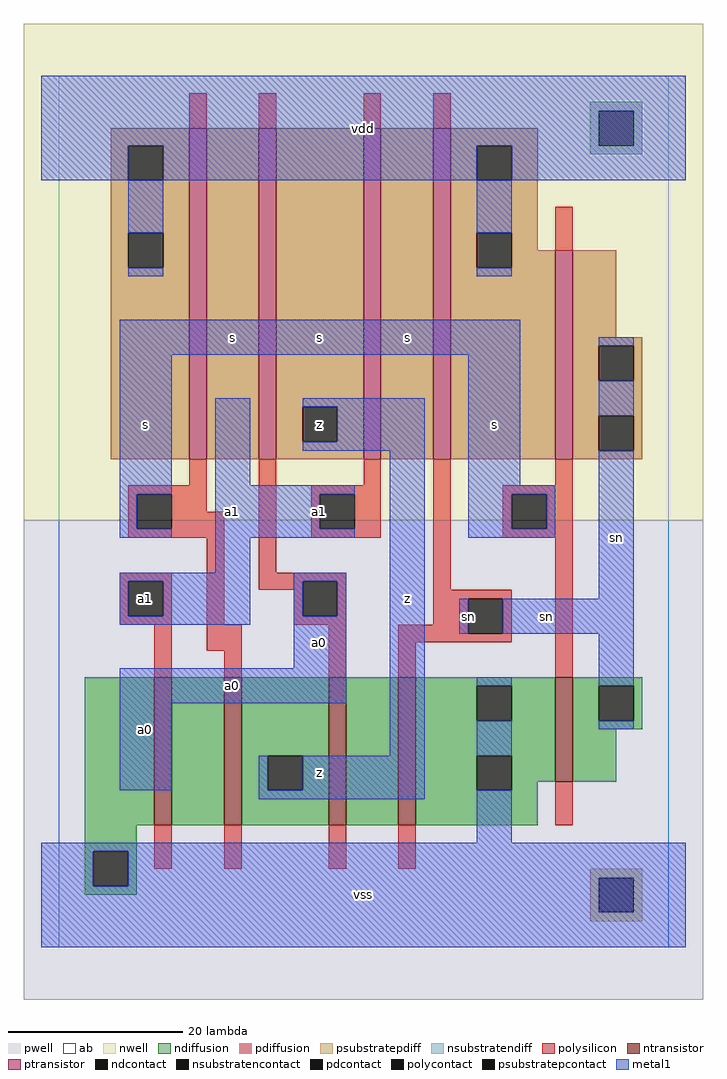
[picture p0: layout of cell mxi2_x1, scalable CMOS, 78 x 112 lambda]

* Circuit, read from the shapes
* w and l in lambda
.subckt mxi2_x1 a0 a1 s sn vdd vss z
M1 n1 a1 vss vss nfet w=17 l=2
M2 z s n1 vss nfet w=17 l=2
M3 n2 a0 z vss nfet w=17 l=2
M4 vss sn n2 vss nfet w=17 l=2
M5 sn s vss vss nfet w=12 l=2
M6 n3 s vdd vdd pfet w=38 l=2
M7 z a0 n3 vdd pfet w=38 l=2
M8 n4 a1 z vdd pfet w=38 l=2
M9 vdd sn n4 vdd pfet w=38 l=2
M10 sn s vdd vdd pfet w=24 l=2
.ends

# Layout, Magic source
magic
tech scmos
<< ab >>
rect 0 0 70 100
<< pwell >>
rect -4 -6 74 49
<< nwell >>
rect -4 49 74 106
<< polysilicon >>
rect 15 94 17 98
rect 23 94 25 98
rect 35 94 37 98
rect 43 94 45 98
rect 57 80 59 85
rect 15 53 17 56
rect 8 52 17 53
rect 8 48 9 52
rect 13 50 17 52
rect 13 48 19 50
rect 8 47 19 48
rect 7 42 13 43
rect 7 38 8 42
rect 12 38 13 42
rect 7 37 13 38
rect 11 31 13 37
rect 17 37 19 47
rect 23 43 25 56
rect 35 53 37 56
rect 29 52 37 53
rect 29 48 30 52
rect 34 48 37 52
rect 29 47 37 48
rect 23 42 33 43
rect 23 41 28 42
rect 27 38 28 41
rect 32 38 33 42
rect 27 37 33 38
rect 43 41 45 56
rect 57 53 59 56
rect 51 52 59 53
rect 51 48 52 52
rect 56 48 59 52
rect 51 47 59 48
rect 43 40 52 41
rect 43 37 47 40
rect 17 34 21 37
rect 19 31 21 34
rect 31 31 33 37
rect 39 36 47 37
rect 51 36 52 40
rect 39 35 52 36
rect 39 31 41 35
rect 57 31 59 47
rect 57 14 59 19
rect 11 9 13 14
rect 19 9 21 14
rect 31 9 33 14
rect 39 9 41 14
<< ndiffusion >>
rect 3 14 11 31
rect 13 14 19 31
rect 21 22 31 31
rect 21 18 24 22
rect 28 18 31 22
rect 21 14 31 18
rect 33 14 39 31
rect 41 30 57 31
rect 41 26 48 30
rect 52 26 57 30
rect 41 22 57 26
rect 41 18 48 22
rect 52 19 57 22
rect 59 30 67 31
rect 59 26 62 30
rect 66 26 67 30
rect 59 25 67 26
rect 59 19 64 25
rect 52 18 55 19
rect 41 14 55 18
rect 3 11 9 14
rect 3 7 4 11
rect 8 7 9 11
rect 3 6 9 7
<< pdiffusion >>
rect 6 92 15 94
rect 6 88 8 92
rect 12 88 15 92
rect 6 82 15 88
rect 6 78 8 82
rect 12 78 15 82
rect 6 56 15 78
rect 17 56 23 94
rect 25 62 35 94
rect 25 58 28 62
rect 32 58 35 62
rect 25 56 35 58
rect 37 56 43 94
rect 45 92 55 94
rect 45 88 48 92
rect 52 88 55 92
rect 45 82 55 88
rect 45 78 48 82
rect 52 80 55 82
rect 52 78 57 80
rect 45 56 57 78
rect 59 70 64 80
rect 59 69 67 70
rect 59 65 62 69
rect 66 65 67 69
rect 59 61 67 65
rect 59 57 62 61
rect 66 57 67 61
rect 59 56 67 57
<< metal1 >>
rect -2 92 72 100
rect -2 88 8 92
rect 12 88 48 92
rect 52 88 72 92
rect 8 82 12 88
rect 8 77 12 78
rect 48 82 52 88
rect 48 77 52 78
rect 7 68 53 72
rect 7 52 13 68
rect 7 48 9 52
rect 7 47 13 48
rect 18 53 22 63
rect 28 62 42 63
rect 32 58 42 62
rect 28 57 42 58
rect 18 52 34 53
rect 18 48 30 52
rect 18 47 34 48
rect 18 43 22 47
rect 7 42 22 43
rect 7 38 8 42
rect 12 38 22 42
rect 7 37 22 38
rect 27 42 33 43
rect 27 38 28 42
rect 32 38 33 42
rect 27 32 33 38
rect 7 28 33 32
rect 7 18 13 28
rect 38 22 42 57
rect 47 53 53 68
rect 62 69 66 70
rect 62 61 66 65
rect 47 52 57 53
rect 47 48 52 52
rect 56 48 57 52
rect 47 47 57 48
rect 62 40 66 57
rect 46 36 47 40
rect 51 36 66 40
rect 23 18 24 22
rect 28 18 42 22
rect 23 17 42 18
rect 48 30 52 31
rect 48 22 52 26
rect 62 30 66 36
rect 62 25 66 26
rect 48 12 52 18
rect -2 11 72 12
rect -2 7 4 11
rect 8 7 72 11
rect -2 0 72 7
<< ntransistor >>
rect 11 14 13 31
rect 19 14 21 31
rect 31 14 33 31
rect 39 14 41 31
rect 57 19 59 31
<< ptransistor >>
rect 15 56 17 94
rect 23 56 25 94
rect 35 56 37 94
rect 43 56 45 94
rect 57 56 59 80
<< polycontact >>
rect 9 48 13 52
rect 8 38 12 42
rect 30 48 34 52
rect 28 38 32 42
rect 52 48 56 52
rect 47 36 51 40
<< ndcontact >>
rect 24 18 28 22
rect 48 26 52 30
rect 48 18 52 22
rect 62 26 66 30
rect 4 7 8 11
<< pdcontact >>
rect 8 88 12 92
rect 8 78 12 82
rect 28 58 32 62
rect 48 88 52 92
rect 48 78 52 82
rect 62 65 66 69
rect 62 57 66 61
<< psubstratepcontact >>
rect 62 4 66 8
<< nsubstratencontact >>
rect 62 92 66 96
<< psubstratepdiff >>
rect 61 8 67 9
rect 61 4 62 8
rect 66 4 67 8
rect 61 3 67 4
<< nsubstratendiff >>
rect 61 96 67 97
rect 61 92 62 96
rect 66 92 67 96
rect 61 91 67 92
<< labels >>
rlabel polysilicon 47 38 47 38 6 sn
rlabel metal1 10 25 10 25 6 a0
rlabel metal1 10 25 10 25 6 a0
rlabel metal1 20 30 20 30 6 a0
rlabel metal1 20 30 20 30 6 a0
rlabel polycontact 10 40 10 40 6 a1
rlabel polycontact 10 40 10 40 6 a1
rlabel metal1 20 50 20 50 6 a1
rlabel metal1 20 50 20 50 6 a1
rlabel metal1 10 60 10 60 6 s
rlabel metal1 10 60 10 60 6 s
rlabel metal1 20 70 20 70 6 s
rlabel metal1 20 70 20 70 6 s
rlabel metal1 35 6 35 6 6 vss
rlabel metal1 35 6 35 6 6 vss
rlabel metal1 30 20 30 20 6 z
rlabel metal1 30 20 30 20 6 z
rlabel metal1 30 35 30 35 6 a0
rlabel metal1 30 35 30 35 6 a0
rlabel metal1 30 50 30 50 6 a1
rlabel metal1 30 50 30 50 6 a1
rlabel pdcontact 30 60 30 60 6 z
rlabel pdcontact 30 60 30 60 6 z
rlabel metal1 30 70 30 70 6 s
rlabel metal1 30 70 30 70 6 s
rlabel metal1 35 94 35 94 6 vdd
rlabel metal1 35 94 35 94 6 vdd
rlabel metal1 40 40 40 40 6 z
rlabel metal1 40 40 40 40 6 z
rlabel metal1 50 60 50 60 6 s
rlabel metal1 50 60 50 60 6 s
rlabel metal1 40 70 40 70 6 s
rlabel metal1 40 70 40 70 6 s
rlabel metal1 56 38 56 38 6 sn
rlabel metal1 64 47 64 47 6 sn
<< end >>
